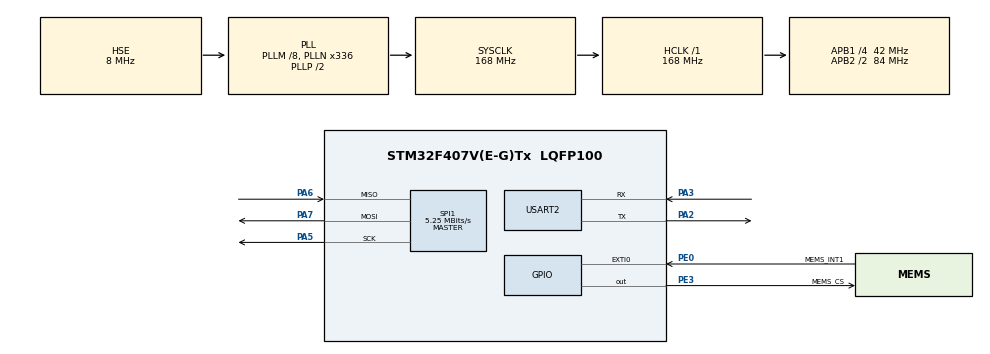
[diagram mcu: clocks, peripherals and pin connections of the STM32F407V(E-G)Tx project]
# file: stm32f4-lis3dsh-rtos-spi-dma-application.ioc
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Dma.Request0=USART2_TX
Dma.Request1=SPI1_RX
Dma.Request2=SPI1_TX
Dma.SPI1_RX.1.Direction=DMA_PERIPH_TO_MEMORY
Dma.SPI1_RX.1.FIFOMode=DMA_FIFOMODE_DISABLE
Dma.SPI1_RX.1.Instance=DMA2_Stream0
Dma.SPI1_RX.1.MemDataAlignment=DMA_MDATAALIGN_BYTE
Dma.SPI1_RX.1.MemInc=DMA_MINC_ENABLE
Dma.SPI1_RX.1.Mode=DMA_NORMAL
Dma.SPI1_RX.1.PeriphDataAlignment=DMA_PDATAALIGN_BYTE
Dma.SPI1_RX.1.PeriphInc=DMA_PINC_DISABLE
Dma.SPI1_RX.1.Priority=DMA_PRIORITY_LOW
Dma.SPI1_TX.2.Direction=DMA_MEMORY_TO_PERIPH
Dma.SPI1_TX.2.FIFOMode=DMA_FIFOMODE_DISABLE
Dma.SPI1_TX.2.Instance=DMA2_Stream3
Dma.SPI1_TX.2.MemDataAlignment=DMA_MDATAALIGN_BYTE
Dma.SPI1_TX.2.MemInc=DMA_MINC_ENABLE
Dma.SPI1_TX.2.Mode=DMA_NORMAL
Dma.SPI1_TX.2.PeriphDataAlignment=DMA_PDATAALIGN_BYTE
Dma.SPI1_TX.2.PeriphInc=DMA_PINC_DISABLE
Dma.SPI1_TX.2.Priority=DMA_PRIORITY_LOW
Dma.USART2_TX.0.Direction=DMA_MEMORY_TO_PERIPH
Dma.USART2_TX.0.FIFOMode=DMA_FIFOMODE_DISABLE
Dma.USART2_TX.0.Instance=DMA1_Stream6
Dma.USART2_TX.0.MemDataAlignment=DMA_MDATAALIGN_BYTE
Dma.USART2_TX.0.MemInc=DMA_MINC_ENABLE
Dma.USART2_TX.0.Mode=DMA_NORMAL
Dma.USART2_TX.0.PeriphDataAlignment=DMA_PDATAALIGN_BYTE
Dma.USART2_TX.0.PeriphInc=DMA_PINC_DISABLE
Dma.USART2_TX.0.Priority=DMA_PRIORITY_LOW
FREERTOS.Tasks01=defaultTask,24,128,StartDefaultTask,Default,NULL,Dynamic,NULL,NULL
Mcu.Family=STM32F4
Mcu.Name=STM32F407V(E-G)Tx
Mcu.Package=LQFP100
NVIC.DMA1_Stream6_IRQn=true\:5\:0\:false\:false\:true\:true\:false\:true\:true
NVIC.DMA2_Stream0_IRQn=true\:5\:0\:false\:false\:true\:true\:false\:true\:true
NVIC.DMA2_Stream3_IRQn=true\:5\:0\:false\:false\:true\:true\:false\:true\:true
NVIC.EXTI0_IRQn=true\:5\:0\:false\:false\:true\:true\:true\:true\:true
NVIC.PriorityGroup=NVIC_PRIORITYGROUP_4
NVIC.SPI1_IRQn=true\:5\:0\:false\:false\:true\:true\:true\:true\:true
NVIC.TIM6_DAC_IRQn=true\:15\:0\:false\:false\:true\:false\:false\:true\:true
NVIC.TimeBase=TIM6_DAC_IRQn
NVIC.TimeBaseIP=TIM6
NVIC.USART2_IRQn=true\:5\:0\:false\:false\:true\:true\:true\:true\:true
PA13.GPIO_Label=SWDIO
PA13.Mode=Serial_Wire
PA13.Signal=SYS_JTMS-SWDIO
PA14.GPIO_Label=SWCLK
PA14.Mode=Serial_Wire
PA14.Signal=SYS_JTCK-SWCLK
PA2.Mode=Asynchronous
PA2.Signal=USART2_TX
PA3.Mode=Asynchronous
PA3.Signal=USART2_RX
PA5.Mode=Full_Duplex_Master
PA5.Signal=SPI1_SCK
PA6.Mode=Full_Duplex_Master
PA6.Signal=SPI1_MISO
PA7.Mode=Full_Duplex_Master
PA7.Signal=SPI1_MOSI
PE0.GPIO_Label=MEMS_INT1
PE0.GPIO_PuPd=GPIO_PULLDOWN
PE0.Signal=GPXTI0
PE3.GPIO_Label=MEMS_CS
PE3.GPIO_Speed=GPIO_SPEED_FREQ_VERY_HIGH
PE3.PinState=GPIO_PIN_SET
PE3.Signal=GPIO_Output
PH0-OSC_IN.GPIO_Label=PH0-OSC_IN
PH0-OSC_IN.Mode=HSE-External-Oscillator
PH0-OSC_IN.Signal=RCC_OSC_IN
PH1-OSC_OUT.GPIO_Label=PH1-OSC_OUT
PH1-OSC_OUT.Mode=HSE-External-Oscillator
PH1-OSC_OUT.Signal=RCC_OSC_OUT
ProjectManager.HeapSize=0x200
ProjectManager.StackSize=0x400
ProjectManager.TargetToolchain=STM32CubeIDE
RCC.48MHZClocksFreq_Value=48000000
RCC.AHBFreq_Value=168000000
RCC.APB1CLKDivider=RCC_HCLK_DIV4
RCC.APB1Freq_Value=42000000
RCC.APB1TimFreq_Value=84000000
RCC.APB2CLKDivider=RCC_HCLK_DIV2
RCC.APB2Freq_Value=84000000
RCC.APB2TimFreq_Value=168000000
RCC.CortexFreq_Value=168000000
RCC.HCLKFreq_Value=168000000
RCC.HSE_VALUE=8000000
RCC.HSI_VALUE=16000000
RCC.LSE_VALUE=32768
RCC.PLLM=8
RCC.PLLN=336
RCC.PLLQ=7
RCC.PLLSourceVirtual=RCC_PLLSOURCE_HSE
RCC.SYSCLKFreq_VALUE=168000000
RCC.SYSCLKSource=RCC_SYSCLKSOURCE_PLLCLK
RCC.VCOOutputFreq_Value=336000000
SPI1.BaudRatePrescaler=SPI_BAUDRATEPRESCALER_16
SPI1.CLKPhase=SPI_PHASE_1EDGE
SPI1.CLKPolarity=SPI_POLARITY_LOW
SPI1.CalculateBaudRate=5.25 MBits/s
SPI1.Direction=SPI_DIRECTION_2LINES
SPI1.Mode=SPI_MODE_MASTER
SPI1.VirtualType=VM_MASTER
USART2.VirtualMode=VM_ASYNC
VP_FREERTOS_VS_CMSIS_V2.Mode=CMSIS_V2
VP_SYS_VS_tim6.Mode=TIM6
board=STM32F407G-DISC1

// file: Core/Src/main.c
/* USER CODE BEGIN Header */
/**
  ******************************************************************************
  * @file           : main.c
  * @brief          : Main program body
  ******************************************************************************
  * @attention
  *
  * Copyright (c) 2026 STMicroelectronics.
  * All rights reserved.
  *
  * This software is licensed under terms that can be found in the LICENSE file
  * in the root directory of this software component.
  * If no LICENSE file comes with this software, it is provided AS-IS.
  *
  ******************************************************************************
  */
/* USER CODE END Header */
#include "main.h"
#include "dma.h"
#include "spi.h"
#include "usart.h"
#include "gpio.h"

/* USER CODE BEGIN Includes */
#include "lis3dsh.h"
#include "FreeRTOS.h"
#include "task.h"
#include "sensor_manager.h"

/* USER CODE END Includes */

/* USER CODE BEGIN PV */
LIS3DSH_HandleTypeDef hlis;
LIS3DSH_Data_t pData;

/* USER CODE END PV */

void SystemClock_Config(void);

int main(void)
{

  /* MCU Configuration--------------------------------------------------------*/

  /* Reset of all peripherals, Initializes the Flash interface and the Systick. */
  HAL_Init();

  /* Configure the system clock */
  SystemClock_Config();

  /* Initialize all configured peripherals */
  MX_GPIO_Init();
  MX_DMA_Init();
  MX_SPI1_Init();
  MX_USART2_UART_Init();
  /* USER CODE BEGIN 2 */

  /* --- LIS3DSH Sensor Configuration --- */

  // 1. Set default parameters for the struct
  LIS3DSH_SetDefaults(&hlis);

  // 2. Link Hardware Handles (SPI & GPIO)
  hlis.hspi = &hspi1;
  hlis.CS_Port = MEMS_CS_GPIO_Port;
  hlis.CS_Pin = MEMS_CS_Pin;
  hlis.INT_Port = MEMS_INT1_GPIO_Port;
  hlis.INT_Pin = MEMS_INT1_Pin;

  // 3. Configure Output Data Rate (100 Hz)
  hlis.Init.ODR = LIS3DSH_ODR_100HZ;

  // 4. Configure Interrupts
  // Enable INT1 Pin and set Active High.
  hlis.Init.Interrupt_Config = LIS3DSH_INT1_ENABLE | LIS3DSH_INT_ACTIVE_HIGH | LIS3DSH_INT_LATCHED;

  // 5. Configure FIFO & DMA Settings
  hlis.Init.FIFO_Enable = LIS3DSH_FIFO_ENABLE |LIS3DSH_FIFO_WTM_ENABLE | LIS3DSH_FIFO_WTM_INT1_ENABLE;

  // 6. Set FIFO Mode and Threshold
  hlis.Init.FIFO_Mode = LIS3DSH_FIFO_STREAM_MODE;
  hlis.Init.FIFO_WTM = LIS3DSH_FIFO_WTM_10;

  // 7. Initialize the Sensor Registers
  if(LIS3DSH_Init(&hlis) != LIS3DSH_OK)			Error_Handler(); // Initialization failed

  /* --- FreeRTOS Initialization --- */
  if(LIS3DSH_App_Init(&hlis) != SENSORMNG_OK)	Error_Handler(); // Initialization failed

  // Start the Scheduler
  vTaskStartScheduler();

  /* USER CODE END 2 */

  /* Init scheduler */

  /* Start scheduler */

  /* We should never get here as control is now taken by the scheduler */

  /* Infinite loop */
  while (1)
  {

  }
}

void SystemClock_Config(void)
{
  RCC_OscInitTypeDef RCC_OscInitStruct = {0};
  RCC_ClkInitTypeDef RCC_ClkInitStruct = {0};

  /** Configure the main internal regulator output voltage
  */
  __HAL_RCC_PWR_CLK_ENABLE();
  __HAL_PWR_VOLTAGESCALING_CONFIG(PWR_REGULATOR_VOLTAGE_SCALE1);

  /** Initializes the RCC Oscillators according to the specified parameters
  * in the RCC_OscInitTypeDef structure.
  */
  RCC_OscInitStruct.OscillatorType = RCC_OSCILLATORTYPE_HSE;
  RCC_OscInitStruct.HSEState = RCC_HSE_ON;
  RCC_OscInitStruct.PLL.PLLState = RCC_PLL_ON;
  RCC_OscInitStruct.PLL.PLLSource = RCC_PLLSOURCE_HSE;
  RCC_OscInitStruct.PLL.PLLM = 8;
  RCC_OscInitStruct.PLL.PLLN = 336;
  RCC_OscInitStruct.PLL.PLLP = RCC_PLLP_DIV2;
  RCC_OscInitStruct.PLL.PLLQ = 7;
  if (HAL_RCC_OscConfig(&RCC_OscInitStruct) != HAL_OK)
  {
    Error_Handler();
  }

  /** Initializes the CPU, AHB and APB buses clocks
  */
  RCC_ClkInitStruct.ClockType = RCC_CLOCKTYPE_HCLK|RCC_CLOCKTYPE_SYSCLK
                              |RCC_CLOCKTYPE_PCLK1|RCC_CLOCKTYPE_PCLK2;
  RCC_ClkInitStruct.SYSCLKSource = RCC_SYSCLKSOURCE_PLLCLK;
  RCC_ClkInitStruct.AHBCLKDivider = RCC_SYSCLK_DIV1;
  RCC_ClkInitStruct.APB1CLKDivider = RCC_HCLK_DIV4;
  RCC_ClkInitStruct.APB2CLKDivider = RCC_HCLK_DIV2;

  if (HAL_RCC_ClockConfig(&RCC_ClkInitStruct, FLASH_LATENCY_5) != HAL_OK)
  {
    Error_Handler();
  }
}

/* USER CODE BEGIN 4 */
void HAL_GPIO_EXTI_Callback(uint16_t GPIO_Pin){

	if(GPIO_Pin == hlis.INT_Pin){

		BaseType_t xHigherPriorityTaskWoken = pdFALSE;
		// Notify the Data Acquisition Task (Producer)
  		vTaskNotifyGiveFromISR(LIS3DSH_Get_Accel_Task_Handle, &xHigherPriorityTaskWoken);
  		// Perform context switch if needed
  		portYIELD_FROM_ISR(xHigherPriorityTaskWoken);

  	}

}

/* USER CODE END 4 */

void HAL_TIM_PeriodElapsedCallback(TIM_HandleTypeDef *htim)
{
  if (htim->Instance == TIM6)
  {
    HAL_IncTick();
  }
}

void Error_Handler(void)
{
  __disable_irq();
  while (1)
  {
  }
}
